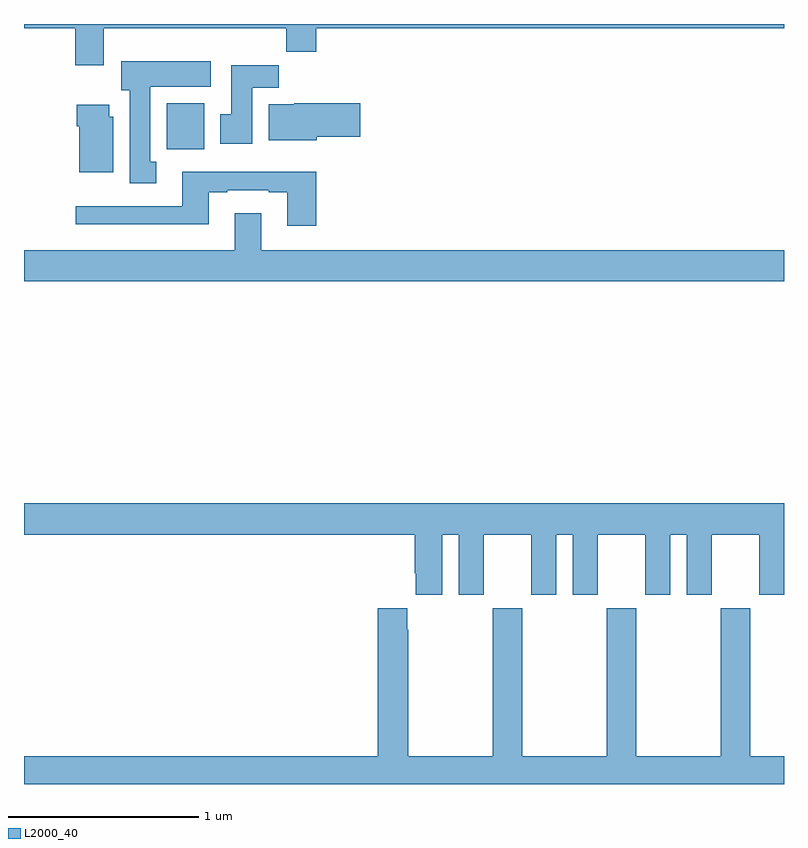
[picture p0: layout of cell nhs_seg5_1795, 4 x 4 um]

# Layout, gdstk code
import gdstk
lib = gdstk.Library(unit=1e-6, precision=1e-09)
def R(c, l, rs):  # rectangles x0, y0, x1, y1
    for r in rs: c.add(gdstk.rectangle(r[:2], r[2:], *l))
def P(c, l, *ps):  # polygons
    for p in ps: c.add(gdstk.Polygon(p, *l))
L2000_40 = (2000, 40)

nhs_seg5_1795 = lib.new_cell('nhs_seg5_1795')
R(nhs_seg5_1795, L2000_40, [(219.752,840.14,219.949,840.382)])
P(nhs_seg5_1795, L2000_40, [(219,840.776),(219.269,840.776),(219.269,840.582),(219.421,840.582),(219.421,840.776),(220.381,840.776),(220.381,840.652),(220.538,840.652),(220.538,840.776),(223,840.776),(223,840.799),(219,840.799)],
  [(219.697,840.074),(219.664,840.074),(219.664,840.47),(219.982,840.47),(219.982,840.604),(219.512,840.604),(219.512,840.45),(219.557,840.45),(219.557,839.961),(219.697,839.961)],
  [(220.201,840.464),(220.34,840.464),(220.34,840.583),(220.091,840.583),(220.091,840.324),(220.034,840.324),(220.034,840.168),(220.201,840.168)],
  [(220.54,840.206),(220.771,840.206),(220.771,840.382),(220.422,840.382),(220.422,840.376),(220.289,840.376),(220.289,840.188),(220.54,840.188)],
  [(219.469,840.312),(219.448,840.312),(219.448,840.373),(219.278,840.373),(219.278,840.26),(219.29,840.26),(219.29,840.02),(219.469,840.02)],
  [(220.538,840.022),(219.833,840.022),(219.833,839.841),(219.273,839.841),(219.273,839.744),(219.973,839.744),(219.973,839.913),(220.069,839.913),(220.069,839.925),(220.289,839.925),(220.289,839.913),(220.385,839.913),(220.385,839.736),(220.538,839.736)],
  [(223,839.608),(220.249,839.608),(220.249,839.803),(220.109,839.803),(220.109,839.608),(219,839.608),(219,839.444),(223,839.444)],
  [(221.2,838.112),(221.288,838.112),(221.288,837.795),(221.419,837.795),(221.419,838.112),(221.669,838.112),(221.669,837.795),(221.8,837.795),(221.8,838.112),(221.888,838.112),(221.888,837.795),(222.019,837.795),(222.019,838.112),(222.269,838.112),(222.269,837.795),(222.4,837.795),(222.4,838.112),(222.488,838.112),(222.488,837.795),(222.619,837.795),(222.619,838.112),(222.869,838.112),(222.869,837.795),(223,837.795),(223,838.276),(219,838.276),(219,838.112),(221.057,838.112),(221.057,837.907),(221.063,837.907),(221.063,837.795),(221.2,837.795)],
  [(223,836.944),(222.822,836.944),(222.822,837.724),(222.667,837.724),(222.667,836.944),(222.222,836.944),(222.222,837.724),(222.067,837.724),(222.067,836.944),(221.622,836.944),(221.622,837.724),(221.467,837.724),(221.467,836.944),(221.022,836.944),(221.022,837.611),(221.017,837.611),(221.017,837.724),(220.862,837.724),(220.862,836.944),(219,836.944),(219,836.799),(223,836.799)])

lib.write_gds('nhs_seg5_1795.gds')
